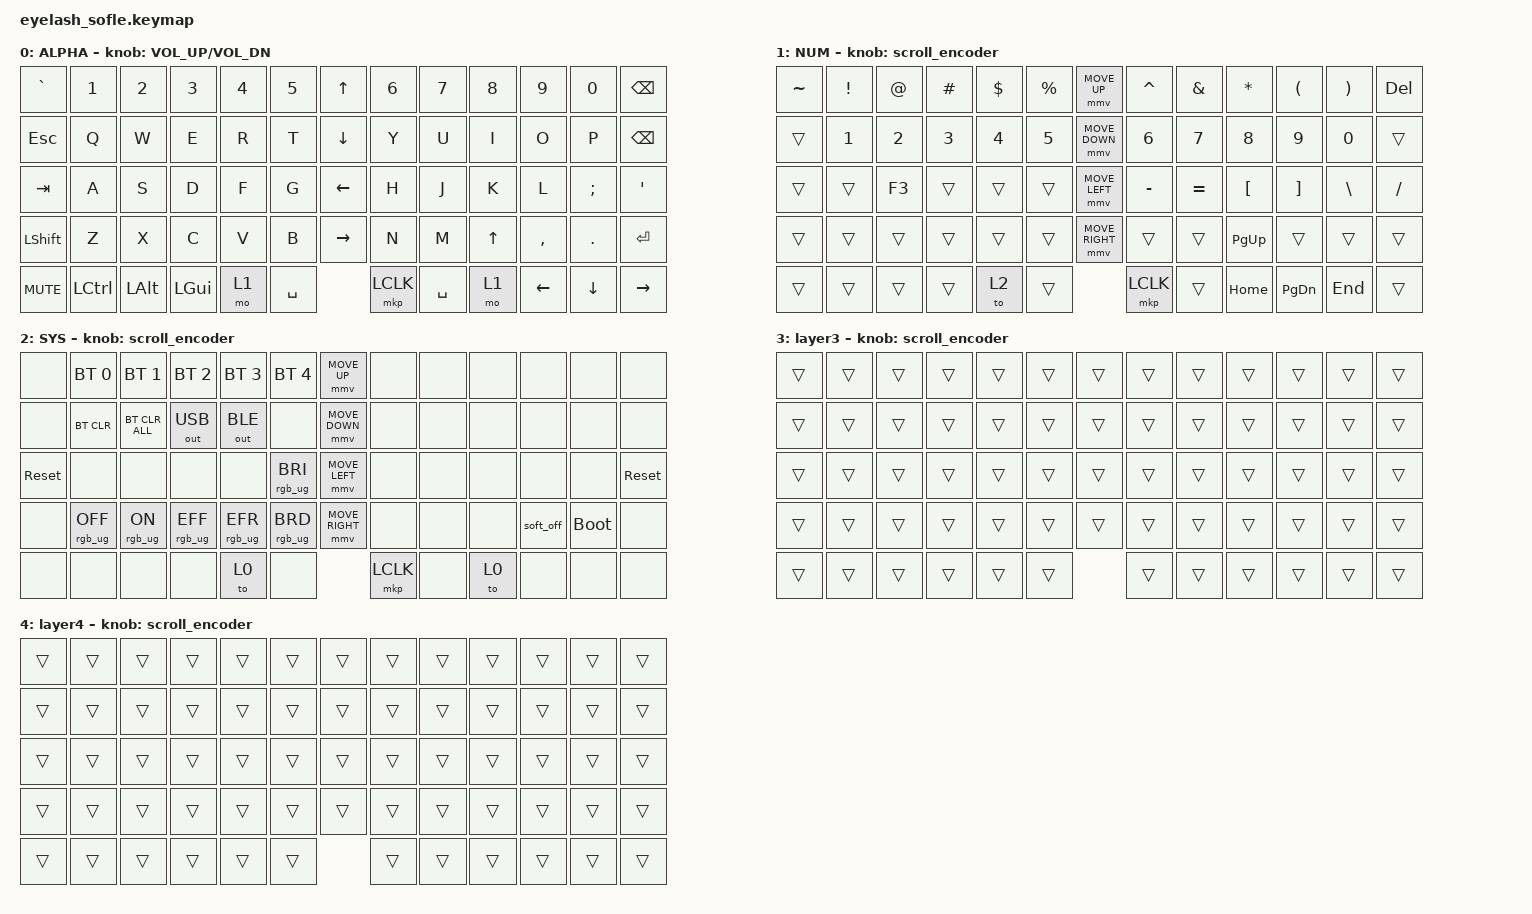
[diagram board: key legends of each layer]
#define ZMK_POINTING_DEFAULT_MOVE_VAL 1200  // 600
#define ZMK_POINTING_DEFAULT_SCRL_VAL 25   // 10

#include <input/processors.dtsi>
#include <zephyr/dt-bindings/input/input-event-codes.h>
#include <behaviors.dtsi>
#include <dt-bindings/zmk/bt.h>
#include <dt-bindings/zmk/keys.h>
#include <dt-bindings/zmk/outputs.h>
#include <dt-bindings/zmk/pointing.h>
#include <dt-bindings/zmk/rgb.h>

&mmv_input_listener { input-processors = <&zip_xy_scaler 2 1>; };

&msc_input_listener { input-processors = <&zip_scroll_scaler 2 1>; };

&msc {
    acceleration-exponent = <1>;      // 0
    time-to-max-speed-ms = <100>;       // 300
    delay-ms = <0>;                   // 0
};

&mmv {
    time-to-max-speed-ms = <500>;
    acceleration-exponent = <1>;
    trigger-period-ms = <16>;
};

&soft_off { hold-time-ms = <2000>; };

/ {
    scroll_encoder: scroll_encoder {
        compatible = "zmk,behavior-sensor-rotate";
        #sensor-binding-cells = <0>;
        bindings = <&msc SCRL_DOWN>, <&msc SCRL_UP>;

        tap-ms = <100>;
    };

    behaviors {
    };

    combos {
        compatible = "zmk,combos";

        softoff {
            bindings = <&soft_off>;
            key-positions = <14 28 40>;
        };
    };

    macros {
        SHIFT_MCLK: SHIFT_MCLK {
            compatible = "zmk,behavior-macro";
            #binding-cells = <0>;
            bindings =
                <&macro_press>,
                <&kp LEFT_SHIFT>,
                <&macro_press>,
                <&mkp MB3>,
                <&macro_pause_for_release>,
                <&macro_release>,
                <&kp LEFT_SHIFT &mkp MB3>;

            label = "SHIFT_MCLK";
        };
    };

    keymap {
        compatible = "zmk,keymap";

        layer0 {
            bindings = <
&kp GRAVE  &kp N1     &kp N2        &kp N3        &kp N4  &kp N5  &kp UP_ARROW    &kp N6  &kp N7  &kp N8     &kp N9   &kp N0    &kp BSPC
&kp ESC    &kp Q      &kp W         &kp E         &kp R   &kp T   &kp DOWN_ARROW  &kp Y   &kp U   &kp I      &kp O    &kp P     &kp BSPC
&kp TAB    &kp A      &kp S         &kp D         &kp F   &kp G   &kp LEFT_ARROW  &kp H   &kp J   &kp K      &kp L    &kp SEMI  &kp SQT
&kp LSHFT  &kp Z      &kp X         &kp C         &kp V   &kp B   &kp RIGHT_ARROW &kp N   &kp M   &kp UP_ARROW  &kp COMMA  &kp DOT   &kp RET
&kp C_MUTE &kp LCTRL  &kp LEFT_ALT  &kp LEFT_GUI  &mo 1   &kp SPACE  &mkp LCLK    &kp SPACE  &mo 1   &kp LEFT_ARROW  &kp DOWN_ARROW  &kp RIGHT_ARROW
            >;

            sensor-bindings = <&inc_dec_kp C_VOL_UP C_VOL_DN>;
            display-name = "ALPHA";
        };

        layer_1 {
            bindings = <
&kp TILDE  &kp EXCL  &kp AT &kp POUND  &kp DLLR  &kp PRCNT     &mmv MOVE_UP    &kp CARET  &kp AMPS  &kp ASTRK  &kp LPAR  &kp RPAR  &kp DEL
&trans  &kp N1  &kp N2  &kp N3    &kp N4     &kp N5     &mmv MOVE_DOWN  &kp N6     &kp N7    &kp N8    &kp N9     &kp N0  &trans
&trans  &trans  &kp F3  &trans    &trans   &trans  &mmv MOVE_LEFT  &kp MINUS  &kp EQUAL   &kp LBKT   &kp RBKT   &kp BSLH  &kp FSLH
&trans  &trans  &trans  &trans    &trans     &trans     &mmv MOVE_RIGHT &trans     &trans    &kp PG_UP  &trans     &trans  &trans
&trans  &trans  &trans  &trans    &to 2      &trans     &mkp LCLK       &trans     &kp HOME  &kp PG_DN  &kp END     &trans
            >;
            sensor-bindings = <&scroll_encoder>;
            display-name = "NUM";
        };

        layer_2 {
            bindings = <
&none       &bt BT_SEL 0     &bt BT_SEL 1     &bt BT_SEL 2     &bt BT_SEL 3     &bt BT_SEL 4     &mmv MOVE_UP    &none  &none  &none      &none        &none        &none
&none       &bt BT_CLR       &bt BT_CLR_ALL   &out OUT_USB     &out OUT_BLE     &none            &mmv MOVE_DOWN  &none  &none  &none      &none        &none        &none
&sys_reset  &none            &none            &none            &none            &rgb_ug RGB_BRI  &mmv MOVE_LEFT  &none  &none  &none      &none        &none        &sys_reset
&none       &rgb_ug RGB_OFF  &rgb_ug RGB_ON   &rgb_ug RGB_EFF  &rgb_ug RGB_EFR  &rgb_ug RGB_BRD  &mmv MOVE_RIGHT &none  &none  &none      &soft_off    &bootloader  &none
&none       &none            &none            &none            &to 0            &none            &mkp LCLK       &none  &to 0  &none      &none        &none
            >;
            sensor-bindings = <&scroll_encoder>;
            display-name = "SYS";
        };

        layer_3 {
            bindings = <
&trans  &trans  &trans  &trans  &trans  &trans    &trans  &trans  &trans  &trans  &trans  &trans  &trans
&trans  &trans  &trans  &trans  &trans  &trans    &trans  &trans  &trans  &trans  &trans  &trans  &trans
&trans  &trans  &trans  &trans  &trans  &trans    &trans  &trans  &trans  &trans  &trans  &trans  &trans
&trans  &trans  &trans  &trans  &trans  &trans    &trans  &trans  &trans  &trans  &trans  &trans  &trans
&trans  &trans  &trans  &trans  &trans  &trans    &trans  &trans  &trans  &trans  &trans  &trans
            >;

            display-name = "layer3";
            sensor-bindings = <&scroll_encoder>;
        };

        layer_4 {
            bindings = <
&trans  &trans  &trans  &trans  &trans  &trans    &trans  &trans  &trans  &trans  &trans  &trans  &trans
&trans  &trans  &trans  &trans  &trans  &trans    &trans  &trans  &trans  &trans  &trans  &trans  &trans
&trans  &trans  &trans  &trans  &trans  &trans    &trans  &trans  &trans  &trans  &trans  &trans  &trans
&trans  &trans  &trans  &trans  &trans  &trans    &trans  &trans  &trans  &trans  &trans  &trans  &trans
&trans  &trans  &trans  &trans  &trans  &trans    &trans  &trans  &trans  &trans  &trans  &trans
            >;

            display-name = "layer4";
            sensor-bindings = <&scroll_encoder>;
        };
    };
};
